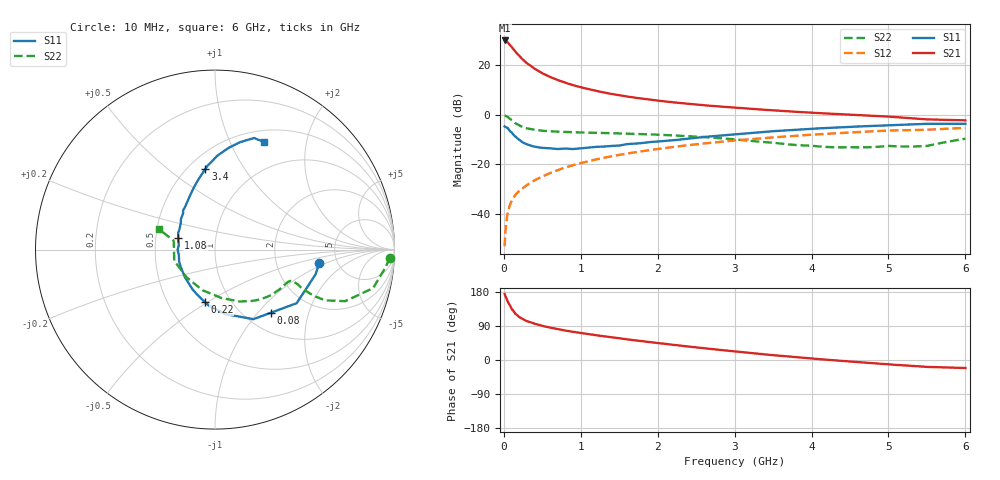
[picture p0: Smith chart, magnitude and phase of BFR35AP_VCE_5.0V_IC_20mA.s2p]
! Infineon Technologies  Discrete & RF Semiconductors
! BFR35AP
! VCE =  5.0 V,  IC =  20 mA
! Common Emitter S-Parameters:  Nov 2015
# GHz  S  MA  R  50
!  f  S11  S21  S12  S22
! GHz  MAG  ANG  MAG  ANG  MAG  ANG  MAG  ANG
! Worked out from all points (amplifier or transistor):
!   210 points, 10 MHz to 6 GHz, reference 50 ohm
!   highest |S21| = 30.1 dB at 10 MHz (marker M1)
!   |S21| within 3 dB of that: start of sweep to 111.4 MHz
!   unconditionally stable (mu >= 1): 426.7 MHz to 2.871 GHz
!   at 185 MHz: K = 0.72, MSG = 27.8 dB, |S12| = -31.2 dB
!   at 1.52 GHz: K = 1.09, MAG = 10.1 dB, |S12| = -16.1 dB
!   at 6 GHz: K = 0.93, MSG = 1.5 dB, |S12| = -5.2 dB
!   S11 on the Smith chart (normalised r, x): 10 MHz: 3.61, -0.84; 80 MHz: 1.30, -1.17; 220 MHz: 0.76, -0.48; 1.08 GHz: 0.65, +0.09; 3.4 GHz: 0.61, +0.69; 6 GHz: 0.64, +1.35
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0.01  0.5853 -7.5  32.04 174.1  0.0022 88.4  0.9746 -2.7
0.02  0.5768 -13.9  31.59 168.7  0.0042 83.8  0.9562 -5.8
0.05  0.5442 -33.3  29.37 154.1  0.0104 76.6  0.9065 -13.7
0.08  0.4693 -48.6  25.73 143.7  0.0151 72.0  0.8285 -18.2
0.1  0.4427 -61.1  23.89 135.2  0.0182 70.3  0.7798 -21.6
0.15  0.3643 -80.7  19 121.9  0.024 66.0  0.6764 -24.7
0.2  0.3142 -96.3  15.57 113.4  0.0288 66.9  0.6095 -25.1
0.22  0.2964 -101.3  14.5 111.1  0.0305 66.9  0.5909 -24.9
0.26  0.2698 -111.6  12.58 106.2  0.0341 67.1  0.557 -24.5
0.3  0.2544 -119.5  11.09 102.4  0.0379 68.1  0.533 -24.1
0.4  0.2274 -137.5  8.582 95.7  0.0473 69.3  0.4984 -22.7
0.5  0.2152 -151.4  6.939 89.9  0.0564 70.0  0.476 -22.2
0.7  0.2036 -171.7  5.072 81.3  0.0761 70.7  0.4567 -22.5
1.02  0.212 165.2  3.554 70.7  0.1075 69.2  0.4401 -25.1
1.08  0.2156 161.8  3.377 69.0  0.1134 68.8  0.4376 -26.0
1.4  0.2359 145.4  2.646 59.9  0.1446 66.4  0.426 -30.3
2.02  0.2903 125.1  1.924 44.4  0.2058 60.3  0.3955 -41.0
3.1  0.4145 101.4  1.365 20.8  0.3119 47.8  0.3087 -67.6
3.4  0.4533 96.8  1.264 14.9  0.34 44.0  0.28 -78.1
4.1  0.533 87.2  1.084 2.3  0.4049 35.2  0.2292 -112.2
5.1  0.6233 75.5  0.899 -12.9  0.4846 21.0  0.231 -170.1
6  0.6584 65.6  0.774 -21.1  0.5465 10.3  0.3296 160.1
